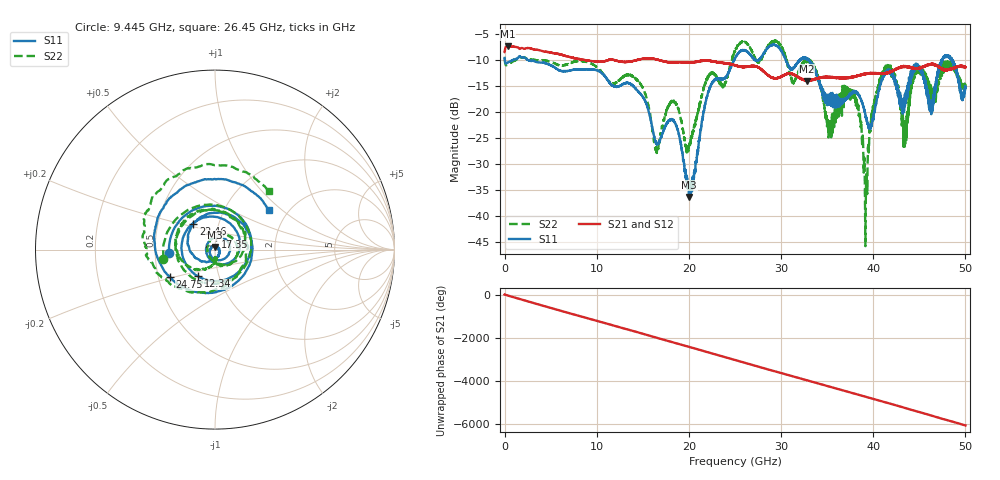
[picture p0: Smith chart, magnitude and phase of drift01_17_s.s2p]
!Created with skrf (http://scikit-rf.org).
# Hz S RI R 50.0
!freq ReS11 ImS11 ReS21 ImS21 ReS12 ImS12 ReS22 ImS22
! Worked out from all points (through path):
!   10001 points, 300 kHz to 50 GHz, reference 50 ohm
!   highest |S21| = -7.33 dB at 315.3 MHz (marker M1); lowest = -14.0 dB at 32.77 GHz (marker M2)
!   group delay of S21, straight-line fit = 335 ps
!   lowest |S11| = -36.3 dB at 20.01 GHz (marker M3), VSWR 1.03, Z = 49.8 + j1.52 ohm
!   |S11| at or under -10 dB: 2.567 GHz to 24.9 GHz (22.34 GHz wide, 163 % of centre); 30.51 GHz to 32.01 GHz (1.508 GHz wide, 4.83 % of centre); 33.03 GHz to 47.42 GHz (14.39 GHz wide, 35.8 % of centre)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
!   |S22| runs from -45.7 to -6.2 dB; largest |S21 - S12| = 0.0079
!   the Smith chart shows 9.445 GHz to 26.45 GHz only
!   S11 on the Smith chart (normalised r, x): 9.445 GHz: 0.59, -0.02; 12.34 GHz: 0.80, -0.24; 17.35 GHz: 1.00, +0.14; 22.46 GHz: 0.76, +0.22; 24.75 GHz: 0.58, -0.19; 26.45 GHz: 1.60, +0.82
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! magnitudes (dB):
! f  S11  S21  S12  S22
! 300 kHz  -9.6  -8.4  -8.5  -9.6
! 315.3 MHz  -10.5  -7.3  -7.3  -10.9
! 8.335 GHz  -11.8  -9.8  -9.9  -10.2
! 9.445 GHz  -11.8  -10.2  -10.2  -10.7
! 12.34 GHz  -15.1  -10.2  -10.2  -14.0
! 16.67 GHz  -26.1  -10.0  -10.0  -27.0
! 17.35 GHz  -23.1  -10.3  -10.3  -21.1
! 20.01 GHz  -36.3  -10.5  -10.5  -26.4
! 22.46 GHz  -14.5  -10.2  -10.2  -12.5
! 24.75 GHz  -10.6  -10.9  -10.9  -9.4
! 25 GHz  -9.6  -11.0  -11.0  -8.3
! 26.45 GHz  -8.5  -11.2  -11.2  -7.1
! 32.77 GHz  -9.8  -14.0  -13.9  -10.2
! 33.34 GHz  -10.7  -13.8  -13.8  -10.5
! 35.23 GHz  -17.8  -13.2  -13.3  -22.7
! 37.98 GHz  -16.0  -13.1  -13.2  -17.1
! 39.17 GHz  -20.7  -12.6  -12.6  -42.4
! 40.15 GHz  -19.9  -12.5  -12.5  -17.5
! 41.67 GHz  -12.1  -12.3  -12.4  -11.6
! 43.39 GHz  -17.6  -11.2  -11.2  -24.0
! 44.86 GHz  -11.4  -11.6  -11.5  -11.7
! 50 GHz  -15.4  -11.4  -11.3  -15.0
